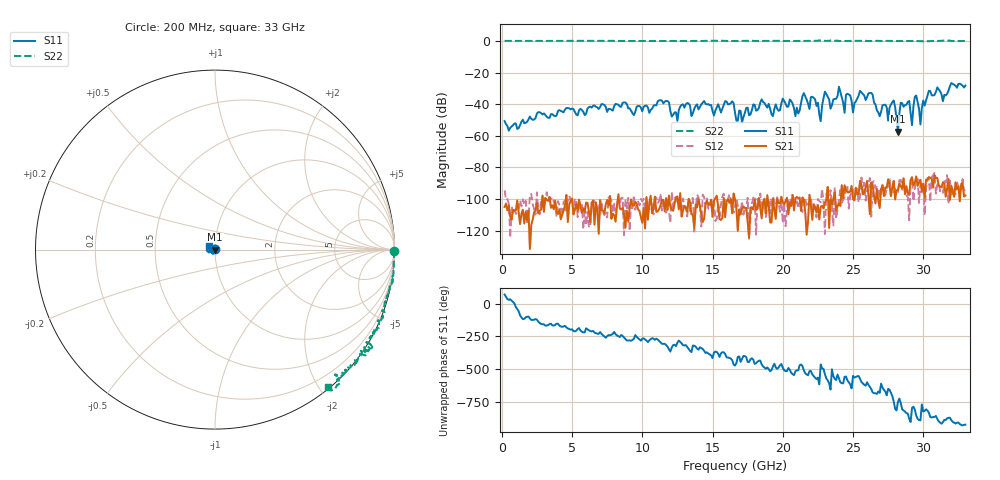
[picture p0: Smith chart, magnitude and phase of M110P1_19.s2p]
# GHZ S RI R 50
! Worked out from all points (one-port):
!   329 points, 200 MHz to 33 GHz, reference 50 ohm
!   lowest |S11| = -57.4 dB at 28.2 GHz (marker M1), VSWR 1.00, Z = 50.1 - j0.0721 ohm
!   |S11| at or under -10 dB: start of sweep to end of sweep
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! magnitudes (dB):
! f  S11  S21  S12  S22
! 200 MHz  -50.7  -105.0  -94.4  0.0
! 5.7 GHz  -43.7  -108.8  -103.5  0.0
! 11.2 GHz  -37.6  -106.3  -101.1  -0.1
! 12.5 GHz  -50.5  -98.3  -101.7  -0.1
! 16.6 GHz  -45.3  -100.2  -105.0  0.0
! 22.1 GHz  -35.3  -113.1  -105.9  -0.1
! 22.7 GHz  -50.8  -104.8  -101.9  0.3
! 23 GHz  -32.1  -102.1  -122.0  -0.1
! 23.4 GHz  -42.8  -100.2  -94.4  0.2
! 24 GHz  -29.0  -102.6  -99.9  -0.1
! 24.4 GHz  -45.4  -91.3  -98.9  0.0
! 25.5 GHz  -31.5  -88.5  -98.7  0.0
! 27.6 GHz  -42.2  -90.6  -86.5  -0.1
! 27.9 GHz  -37.7  -88.4  -95.2  0.0
! 28.2 GHz  -57.4  -94.3  -95.6  -0.1
! 28.4 GHz  -39.1  -92.0  -87.9  -0.1
! 29 GHz  -38.0  -97.4  -113.3  -0.1
! 29.2 GHz  -53.3  -86.2  -86.7  -0.1
! 29.5 GHz  -34.5  -85.7  -88.6  0.0
! 29.8 GHz  -52.8  -87.8  -90.1  -0.2
! 30.4 GHz  -31.6  -86.1  -87.0  -0.3
! 33 GHz  -28.2  -97.7  -94.3  -0.1
